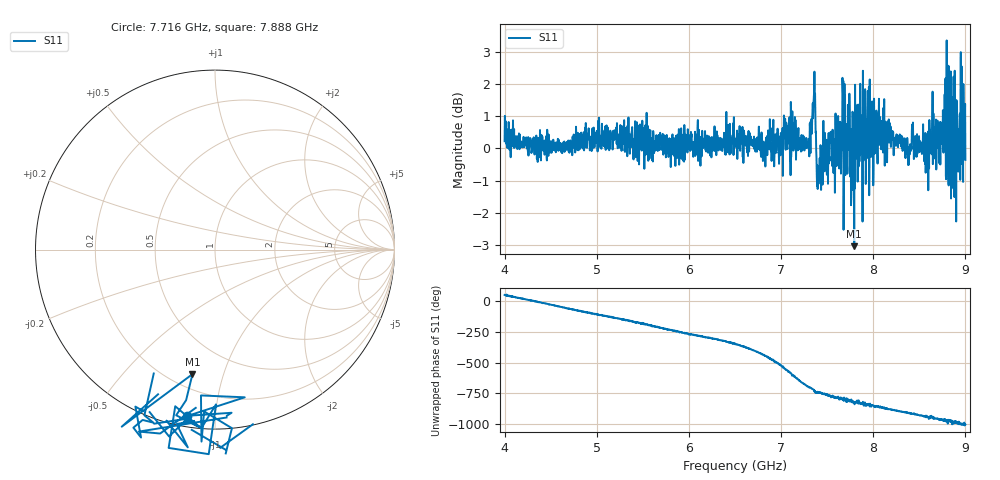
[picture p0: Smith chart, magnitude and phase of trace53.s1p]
! Created with skrf 1.8.0 (http://scikit-rf.org).
# Hz S RI R 50.0
!freq ReS11 ImS11
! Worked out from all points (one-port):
!   1601 points, 4 GHz to 9 GHz, reference 50 ohm
!   lowest |S11| = -3.0 dB at 7.794 GHz (marker M1), VSWR 5.78, Z = 14.4 - j39.7 ohm
!   |S11| at or under -10 dB: nowhere
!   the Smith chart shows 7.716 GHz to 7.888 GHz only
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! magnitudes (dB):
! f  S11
! 4 GHz  0.2
! 4.625 GHz  -0.1
! 5.25 GHz  0.1
! 5.875 GHz  0.1
! 6.5 GHz  0.3
! 6.806 GHz  -0.1
! 7.125 GHz  0.2
! 7.294 GHz  0.0
! 7.347 GHz  0.9
! 7.409 GHz  -0.9
! 7.478 GHz  0.3
! 7.609 GHz  -0.2
! 7.669 GHz  1.9
! 7.75 GHz  0.0
! 7.775 GHz  1.1
! 7.794 GHz  -3.0
! 7.822 GHz  0.1
! 7.909 GHz  1.0
! 7.962 GHz  2.1
! 7.981 GHz  0.3
! 8.05 GHz  0.6
! 8.375 GHz  -0.1
! 8.634 GHz  -0.1
! 8.709 GHz  0.2
! 8.784 GHz  2.2
! 8.869 GHz  -0.9
! 8.972 GHz  0.4
! 9 GHz  -0.4
